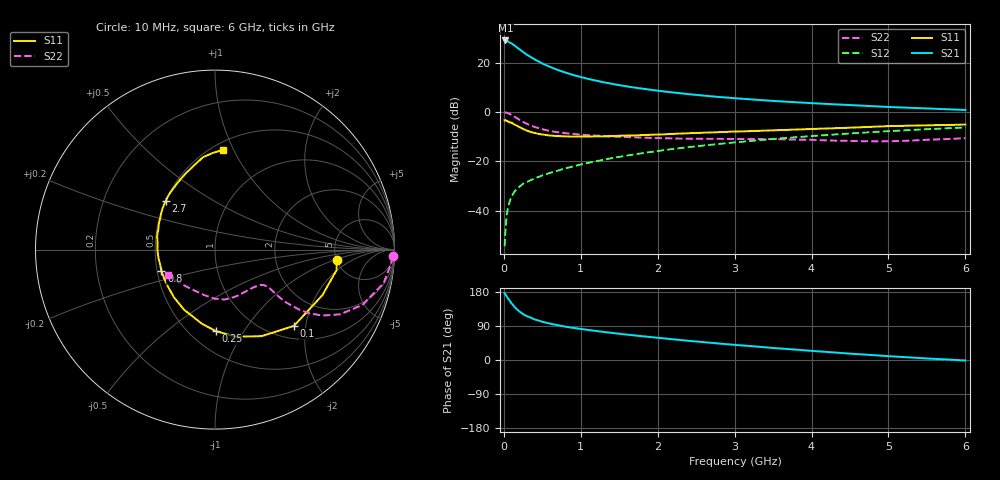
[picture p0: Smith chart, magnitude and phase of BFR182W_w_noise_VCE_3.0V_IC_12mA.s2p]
! Infineon Technologies  Discrete & RF Semiconductors
! BFR182W
! VCE =  3.0 V,  IC =  12 mA
! Common Emitter S-Parameters:  Jan 2017
# GHz  S  MA  R  50
!  f  S11  S21  S12  S22
! GHz  MAG  ANG  MAG  ANG  MAG  ANG  MAG  ANG
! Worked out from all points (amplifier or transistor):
!   77 points, 10 MHz to 6 GHz, reference 50 ohm
!   highest |S21| = 29.1 dB at 20 MHz (marker M1)
!   |S21| within 3 dB of that: start of sweep to 178.2 MHz
!   unconditionally stable (mu >= 1): 1.008 GHz to 2.588 GHz
!   at 130 MHz: K = 0.31, MSG = 30.0 dB, |S12| = -32.7 dB
!   at 2.2 GHz: K = 1.02, MAG = 10.6 dB, |S12| = -15.0 dB
!   at 6 GHz: K = 0.87, MSG = 3.6 dB, |S12| = -6.2 dB
!   lowest NFmin = 1.14 dB at 450 MHz
!   S11 on the Smith chart (normalised r, x): 10 MHz: 5.01, -1.06; 100 MHz: 1.27, -1.72; 250 MHz: 0.66, -0.76; 800 MHz: 0.53, -0.14; 2.7 GHz: 0.50, +0.32; 6 GHz: 0.56, +0.91
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0.01  0.6799 -4.8  28.32 176.5  0.0019 84.8  0.9921 -2.2
0.02  0.6873 -9.5  28.39 173.4  0.0036 97.4  0.9834 -4.7
0.05  0.65 -23.0  27.34 163.7  0.0108 82.5  0.9579 -11.3
0.1  0.6116 -44.0  24.79 149.3  0.0192 73.6  0.8774 -20.6
0.15  0.5477 -61.7  21.73 137.6  0.0257 66.2  0.7858 -27.3
0.2  0.4985 -76.7  18.92 128.4  0.0302 64.3  0.7032 -31.5
0.25  0.4541 -89.4  16.59 121.1  0.0351 60.6  0.6335 -34.1
0.3  0.4196 -100.0  14.57 115.6  0.0381 60.0  0.5764 -35.5
0.4  0.3768 -117.2  11.71 107.0  0.0449 60.5  0.4982 -36.6
0.45  0.3613 -123.7  10.68 104.2  0.0483 61.0  0.4728 -36.6
0.5  0.3507 -130.6  9.677 100.9  0.0517 61.5  0.4474 -36.5
0.6  0.334 -141.5  8.247 95.9  0.0583 62.7  0.4129 -36.0
0.8  0.3217 -158.0  6.336 88.1  0.0723 64.8  0.3726 -35.3
0.9  0.3167 -164.6  5.662 84.8  0.0788 64.9  0.3589 -35.4
1.1  0.319 -176.1  4.706 79.2  0.0936 66.2  0.3404 -35.9
1.5  0.3304 167.4  3.521 69.3  0.1231 66.2  0.3151 -39.3
2.1  0.3546 149.0  2.604 56.7  0.17 64.3  0.2939 -49.0
2.7  0.3863 135.2  2.089 45.3  0.2178 60.8  0.286 -62.0
3.1  0.4061 126.9  1.863 38.4  0.2505 58.1  0.2838 -70.6
4.1  0.4591 109.8  1.49 22.7  0.3343 49.9  0.2698 -92.7
5.1  0.5225 96.1  1.252 8.9  0.4175 40.5  0.2579 -124.6
6  0.5567 85.6  1.104 -1.3  0.4874 31.3  0.2963 -151.6
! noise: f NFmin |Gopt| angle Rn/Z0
0.45  1.14  0.05  71  0.15
0.9  1.22  0.06  102  0.15
1.9  1.71  0.21  -156  0.14
2.4  1.97  0.2  -143  0.21
